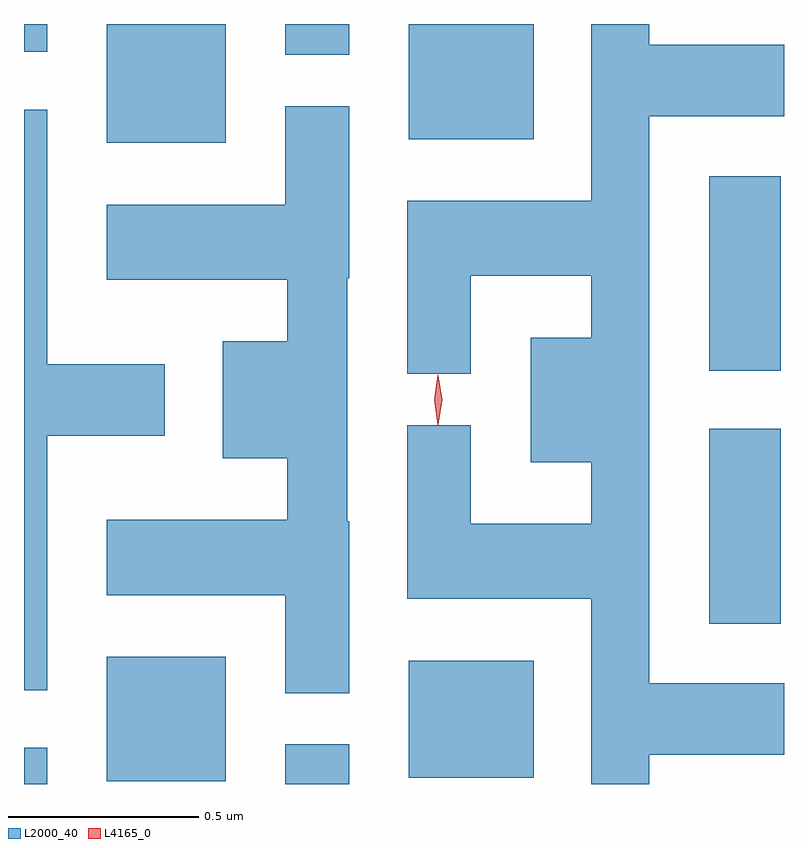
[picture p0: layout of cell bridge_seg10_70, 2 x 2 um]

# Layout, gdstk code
import gdstk
lib = gdstk.Library(unit=1e-6, precision=1e-09)
def R(c, l, rs):  # rectangles x0, y0, x1, y1
    for r in rs: c.add(gdstk.rectangle(r[:2], r[2:], *l))
def P(c, l, *ps):  # polygons
    for p in ps: c.add(gdstk.Polygon(p, *l))
L2000_40 = (2000, 40)
L4165_0 = (4165, 0)

bridge_seg10_70 = lib.new_cell('bridge_seg10_70')
R(bridge_seg10_70, L2000_40, [(1623.913,2173.199,1623.974,2173.294), (1624.601,2173.199,1624.769,2173.303), (1624.131,2173.206,1624.444,2173.534), (1624.926,2173.216,1625.254,2173.524), (1625.716,2173.621,1625.904,2174.134), (1625.716,2174.286,1625.904,2174.799), (1624.131,2174.886,1624.444,2175.199), (1624.926,2174.896,1625.254,2175.199), (1624.601,2175.118,1624.769,2175.199), (1623.913,2175.126,1623.974,2175.199)])
P(bridge_seg10_70, L2000_40, [(1625.559,2173.276),(1625.913,2173.276),(1625.913,2173.464),(1625.559,2173.464),(1625.559,2174.956),(1625.913,2174.956),(1625.913,2175.144),(1625.559,2175.144),(1625.559,2175.199),(1625.406,2175.199),(1625.406,2174.734),(1624.921,2174.734),(1624.921,2174.278),(1625.089,2174.278),(1625.089,2174.536),(1625.406,2174.536),(1625.406,2174.374),(1625.246,2174.374),(1625.246,2174.046),(1625.406,2174.046),(1625.406,2173.884),(1625.089,2173.884),(1625.089,2174.143),(1624.921,2174.143),(1624.921,2173.686),(1625.406,2173.686),(1625.406,2173.199),(1625.559,2173.199)],
  [(1624.769,2173.89),(1624.764,2173.89),(1624.764,2174.53),(1624.769,2174.53),(1624.769,2174.983),(1624.601,2174.983),(1624.601,2174.724),(1624.131,2174.724),(1624.131,2174.526),(1624.606,2174.526),(1624.606,2174.364),(1624.436,2174.364),(1624.436,2174.056),(1624.606,2174.056),(1624.606,2173.894),(1624.131,2173.894),(1624.131,2173.696),(1624.601,2173.696),(1624.601,2173.438),(1624.769,2173.438)],
  [(1623.974,2174.116),(1624.284,2174.116),(1624.284,2174.304),(1623.974,2174.304),(1623.974,2174.974),(1623.913,2174.974),(1623.913,2173.446),(1623.974,2173.446)])
P(bridge_seg10_70, L4165_0, [(1625.003,2174.144),(1625.002,2174.145),(1624.993,2174.21),(1625.002,2174.275),(1625.003,2174.276),(1625.003,2174.275),(1625.013,2174.21),(1625.003,2174.145)])

lib.write_gds('bridge_seg10_70.gds')
